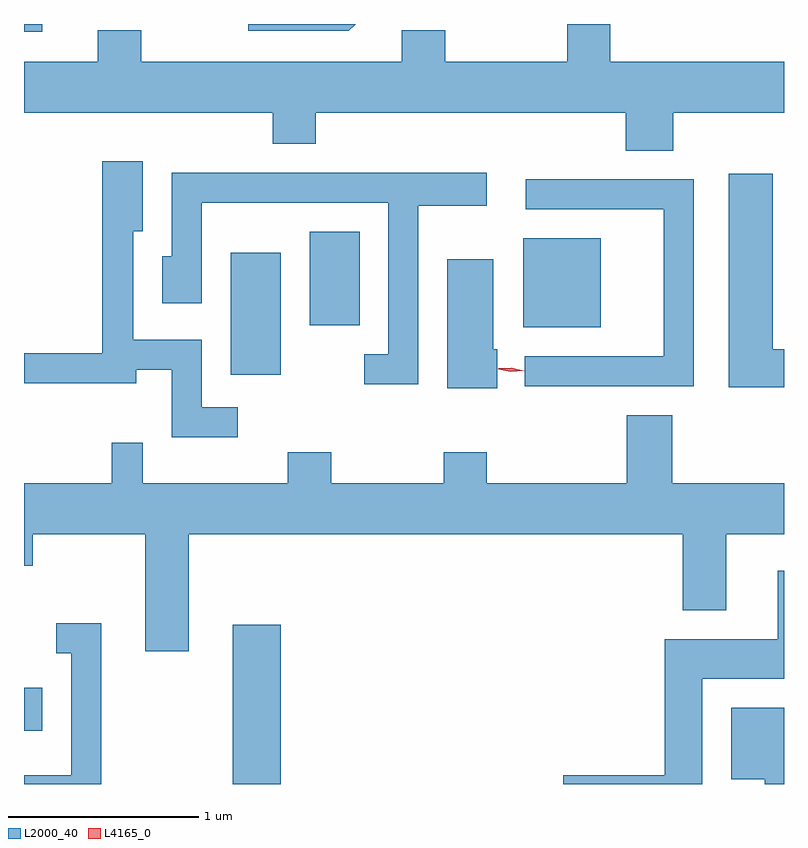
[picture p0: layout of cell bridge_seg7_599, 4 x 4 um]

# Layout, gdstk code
import gdstk
lib = gdstk.Library(unit=1e-6, precision=1e-09)
def R(c, l, rs):  # rectangles x0, y0, x1, y1
    for r in rs: c.add(gdstk.rectangle(r[:2], r[2:], *l))
def P(c, l, *ps):  # polygons
    for p in ps: c.add(gdstk.Polygon(p, *l))
L2000_40 = (2000, 40)
L4165_0 = (4165, 0)

bridge_seg7_599 = lib.new_cell('bridge_seg7_599')
R(bridge_seg7_599, L2000_40, [(759.141,1686.362,759.394,1687.199), (758.043,1686.641,758.139,1686.869), (759.131,1688.516,759.394,1689.159), (760.671,1688.766,761.079,1689.234), (759.546,1688.776,759.809,1689.269), (758.043,1690.321,758.139,1690.362)])
P(bridge_seg7_599, L2000_40, [(761.459,1689.896),(762.043,1689.896),(762.043,1690.164),(761.129,1690.164),(761.129,1690.362),(760.901,1690.362),(760.901,1690.164),(760.259,1690.164),(760.259,1690.329),(760.031,1690.329),(760.031,1690.164),(758.659,1690.164),(758.659,1690.329),(758.431,1690.329),(758.431,1690.164),(758.043,1690.164),(758.043,1689.896),(759.351,1689.896),(759.351,1689.731),(759.579,1689.731),(759.579,1689.896),(761.211,1689.896),(761.211,1689.696),(761.459,1689.696)],
  [(759.788,1690.362),(759.223,1690.362),(759.223,1690.326),(759.752,1690.326)],
  [(759.168,1688.344),(758.979,1688.344),(758.979,1688.699),(758.619,1688.699),(758.619,1689.271),(758.669,1689.271),(758.669,1689.639),(758.456,1689.639),(758.456,1688.629),(758.043,1688.629),(758.043,1688.471),(758.634,1688.471),(758.634,1688.541),(758.821,1688.541),(758.821,1688.186),(759.168,1688.186)],
  [(760.119,1689.406),(760.479,1689.406),(760.479,1689.579),(758.821,1689.579),(758.821,1689.139),(758.771,1689.139),(758.771,1688.891),(758.979,1688.891),(758.979,1689.421),(759.961,1689.421),(759.961,1688.624),(759.833,1688.624),(759.833,1688.466),(760.119,1688.466)],
  [(762.043,1688.649),(761.984,1688.649),(761.984,1689.574),(761.751,1689.574),(761.751,1688.451),(762.043,1688.451)],
  [(761.569,1689.544),(760.683,1689.544),(760.683,1689.386),(761.411,1689.386),(761.411,1688.614),(760.678,1688.614),(760.678,1688.456),(761.569,1688.456)],
  [(760.534,1688.649),(760.514,1688.649),(760.514,1689.124),(760.271,1689.124),(760.271,1688.446),(760.534,1688.446)],
  [(758.909,1687.676),(761.511,1687.676),(761.511,1687.276),(761.739,1687.276),(761.739,1687.676),(762.043,1687.676),(762.043,1687.944),(761.454,1687.944),(761.454,1688.304),(761.216,1688.304),(761.216,1687.944),(760.479,1687.944),(760.479,1688.109),(760.251,1688.109),(760.251,1687.944),(759.659,1687.944),(759.659,1688.109),(759.431,1688.109),(759.431,1687.944),(758.669,1687.944),(758.669,1688.158),(758.506,1688.158),(758.506,1687.944),(758.043,1687.944),(758.043,1687.511),(758.089,1687.511),(758.089,1687.676),(758.681,1687.676),(758.681,1687.061),(758.909,1687.061)],
  [(761.614,1686.916),(762.043,1686.916),(762.043,1687.484),(762.011,1687.484),(762.011,1687.124),(761.416,1687.124),(761.416,1686.409),(760.881,1686.409),(760.881,1686.362),(761.614,1686.362)],
  [(758.449,1687.209),(758.213,1687.209),(758.213,1687.051),(758.291,1687.051),(758.291,1686.409),(758.043,1686.409),(758.043,1686.362),(758.449,1686.362)],
  [(762.043,1686.764),(761.766,1686.764),(761.766,1686.386),(761.941,1686.386),(761.941,1686.362),(762.043,1686.362)])
P(bridge_seg7_599, L4165_0, [(760.606,1688.531),(760.538,1688.544),(760.537,1688.544),(760.538,1688.545),(760.607,1688.55),(760.675,1688.537),(760.676,1688.537),(760.675,1688.536)],
  [(760.605,1688.533),(760.541,1688.548),(760.54,1688.549),(760.541,1688.549),(760.607,1688.553),(760.672,1688.537),(760.672,1688.537),(760.672,1688.536)])

lib.write_gds('bridge_seg7_599.gds')
